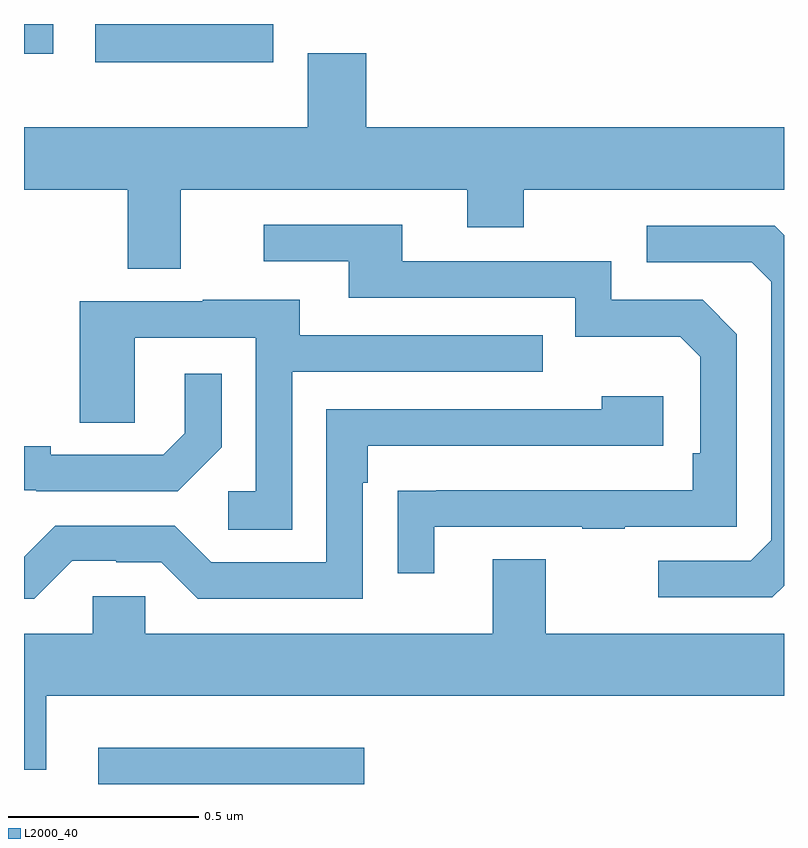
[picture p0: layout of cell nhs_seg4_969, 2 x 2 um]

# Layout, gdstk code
import gdstk
lib = gdstk.Library(unit=1e-6, precision=1e-09)
def R(c, l, rs):  # rectangles x0, y0, x1, y1
    for r in rs: c.add(gdstk.rectangle(r[:2], r[2:], *l))
def P(c, l, *ps):  # polygons
    for p in ps: c.add(gdstk.Polygon(p, *l))
L2000_40 = (2000, 40)

nhs_seg4_969 = lib.new_cell('nhs_seg4_969')
R(nhs_seg4_969, L2000_40, [(122.195,817.9,122.896,817.996), (122.187,819.8,122.656,819.9), (122,819.822,122.077,819.9)])
P(nhs_seg4_969, L2000_40, [(122.413,819.464),(123.167,819.464),(123.167,819.365),(123.315,819.365),(123.315,819.464),(124,819.464),(124,819.628),(122.9,819.628),(122.9,819.823),(122.747,819.823),(122.747,819.628),(122,819.628),(122,819.464),(122.273,819.464),(122.273,819.256),(122.413,819.256)],
  [(123.079,818.577),(123.469,818.577),(123.469,818.572),(123.581,818.572),(123.581,818.577),(123.876,818.577),(123.876,819.084),(123.786,819.174),(123.546,819.174),(123.546,819.276),(122.995,819.276),(122.995,819.372),(122.631,819.372),(122.631,819.276),(122.855,819.276),(122.855,819.18),(123.45,819.18),(123.45,819.077),(123.727,819.077),(123.78,819.024),(123.78,818.77),(123.76,818.77),(123.76,818.673),(123.085,818.673),(123.085,818.672),(122.983,818.672),(122.983,818.454),(123.079,818.454)],
  [(124,818.422),(124,819.344),(123.975,819.369),(123.639,819.369),(123.639,819.273),(123.915,819.273),(123.966,819.222),(123.966,818.541),(123.912,818.487),(123.669,818.487),(123.669,818.391),(123.969,818.391)],
  [(122.706,818.985),(123.365,818.985),(123.365,819.081),(122.725,819.081),(122.725,819.175),(122.471,819.175),(122.471,819.171),(122.147,819.171),(122.147,818.851),(122.292,818.851),(122.292,819.075),(122.61,819.075),(122.61,818.67),(122.538,818.67),(122.538,818.569),(122.706,818.569)],
  [(122.52,818.786),(122.52,818.98),(122.423,818.98),(122.423,818.823),(122.366,818.766),(122.071,818.766),(122.071,818.789),(122,818.789),(122,818.673),(122.032,818.673),(122.032,818.67),(122.404,818.67)],
  [(122.127,818.487),(122.243,818.487),(122.243,818.484),(122.361,818.484),(122.457,818.388),(122.892,818.388),(122.892,818.693),(122.905,818.693),(122.905,818.79),(123.682,818.79),(123.682,818.92),(123.521,818.92),(123.521,818.886),(122.796,818.886),(122.796,818.484),(122.493,818.484),(122.397,818.58),(122.082,818.58),(122,818.498),(122,818.387),(122.027,818.387)],
  [(122.059,818.132),(124,818.132),(124,818.296),(123.373,818.296),(123.373,818.491),(123.233,818.491),(123.233,818.296),(122.319,818.296),(122.319,818.394),(122.181,818.394),(122.181,818.296),(122,818.296),(122,817.938),(122.059,817.938)])

lib.write_gds('nhs_seg4_969.gds')
